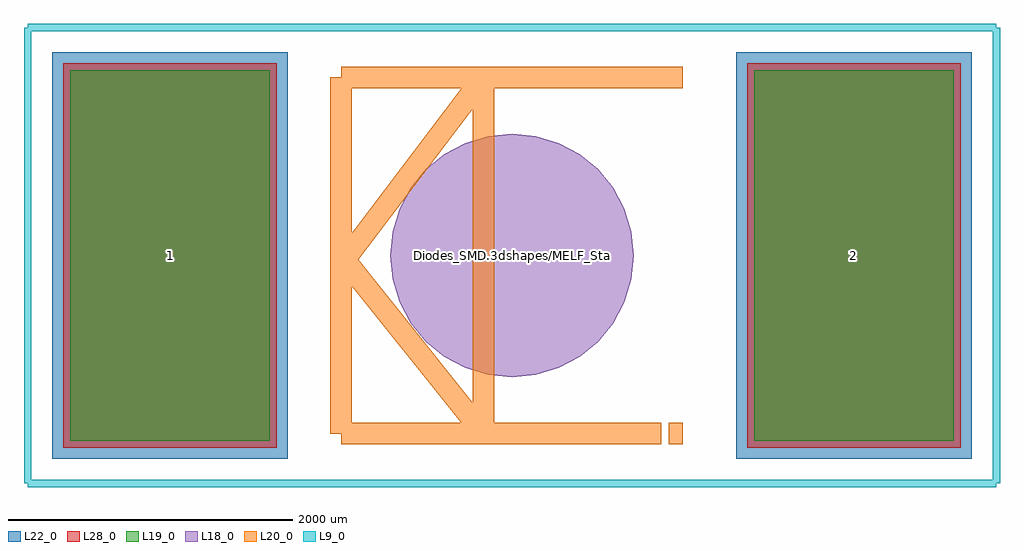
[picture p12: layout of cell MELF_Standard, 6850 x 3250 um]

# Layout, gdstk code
import gdstk
lib = gdstk.Library(unit=1e-6, precision=1e-09)
def R(c, l, rs):  # rectangles x0, y0, x1, y1
    for r in rs: c.add(gdstk.rectangle(r[:2], r[2:], *l))
def P(c, l, *ps):  # polygons
    for p in ps: c.add(gdstk.Polygon(p, *l))
L9_0 = (9, 0)
L18_0 = (18, 0)
L19_0 = (19, 0)
L20_0 = (20, 0)
L22_0 = (22, 0)
L28_0 = (28, 0)

melf_standard = lib.new_cell('MELF_Standard')
P(melf_standard, L18_0, [(200.66,0),(196.804,39.147),(185.386,76.789),(166.843,111.481),(141.888,141.888),(111.481,166.843),(76.789,185.386),(39.147,196.804),(0,200.66),(-39.147,196.804),(-76.789,185.386),(-111.481,166.843),(-141.888,141.888),(-166.843,111.481),(-185.386,76.789),(-196.804,39.147),(-200.66,0),(-196.804,-39.147),(-185.386,-76.789),(-166.843,-111.481),(-141.888,-141.888),(-111.481,-166.843),(-76.789,-185.386),(-39.147,-196.804),(0,-200.66),(39.147,-196.804),(76.789,-185.386),(111.481,-166.843),(141.888,-141.888),(166.843,-111.481),(185.386,-76.789),(196.804,-39.147)],
  [(551.18,0),(540.589,107.53),(509.224,210.927),(458.289,306.219),(389.743,389.743),(306.219,458.289),(210.927,509.224),(107.53,540.589),(0,551.18),(-107.53,540.589),(-210.927,509.224),(-306.219,458.289),(-389.743,389.743),(-458.289,306.219),(-509.224,210.927),(-540.589,107.53),(-551.18,0),(-540.589,-107.53),(-509.224,-210.927),(-458.289,-306.219),(-389.743,-389.743),(-306.219,-458.289),(-210.927,-509.224),(-107.53,-540.589),(0,-551.18),(107.53,-540.589),(210.927,-509.224),(306.219,-458.289),(389.743,-389.743),(458.289,-306.219),(509.224,-210.927),(540.589,-107.53)],
  [(854.395,0),(837.978,166.684),(789.358,326.963),(710.403,474.676),(604.148,604.148),(474.676,710.403),(326.963,789.358),(166.684,837.978),(0,854.395),(-166.684,837.978),(-326.963,789.358),(-474.676,710.403),(-604.148,604.148),(-710.403,474.676),(-789.358,326.963),(-837.978,166.684),(-854.395,0),(-837.978,-166.684),(-789.358,-326.963),(-710.403,-474.676),(-604.148,-604.148),(-474.676,-710.403),(-326.963,-789.358),(-166.684,-837.978),(0,-854.395),(166.684,-837.978),(326.963,-789.358),(474.676,-710.403),(604.148,-604.148),(710.403,-474.676),(789.358,-326.963),(837.978,-166.684)])
R(melf_standard, L19_0, [(-3100.87,-1300.01,-1699.73,1300.01), (1699.73,-1300.01,3100.87,1300.01)])
R(melf_standard, L22_0, [(-3225.87,-1425.01,-1574.73,1425.01), (1574.73,-1425.01,3225.87,1425.01)])
R(melf_standard, L28_0, [(-3150.87,-1350.01,-1649.73,1350.01), (1649.73,-1350.01,3150.87,1350.01)])
melf_standard.add(gdstk.FlexPath([(-1198.88,-1249.68),(1049.02,-1249.68)], 149.998, ends="flush", simple_path=True, layer=20, datatype=0))  # L20_0
melf_standard.add(gdstk.FlexPath([(-1198.88,1249.68),(1150.62,1249.68)], 149.998, ends="flush", simple_path=True, layer=20, datatype=0))  # L20_0
melf_standard.add(gdstk.FlexPath([(1099.82,-1249.68),(1198.88,-1249.68)], 149.998, ends="flush", simple_path=True, layer=20, datatype=0))  # L20_0
melf_standard.add(gdstk.FlexPath([(1099.82,1249.68),(1198.88,1249.68)], 149.998, ends="flush", simple_path=True, layer=20, datatype=0))  # L20_0
melf_standard.add(gdstk.FlexPath([(-1198.88,1249.68),(-1198.88,-1249.68)], 149.998, ends="flush", simple_path=True, layer=20, datatype=0))  # L20_0
melf_standard.add(gdstk.FlexPath([(-200.66,-1249.68),(-1198.88,0)], 149.998, ends="flush", simple_path=True, layer=20, datatype=0))  # L20_0
melf_standard.add(gdstk.FlexPath([(-200.66,1249.68),(-200.66,-1249.68)], 149.998, ends="flush", simple_path=True, layer=20, datatype=0))  # L20_0
melf_standard.add(gdstk.FlexPath([(-1150.62,0),(-200.66,1249.68)], 149.998, ends="flush", simple_path=True, layer=20, datatype=0))  # L20_0
melf_standard.add(gdstk.FlexPath([(-3400,-1600),(-3400,1600)], 50, ends="flush", simple_path=True, layer=9, datatype=0))  # L9_0
melf_standard.add(gdstk.FlexPath([(3400,-1600),(-3400,-1600)], 50, ends="flush", simple_path=True, layer=9, datatype=0))  # L9_0
melf_standard.add(gdstk.FlexPath([(3400,1600),(3400,-1600)], 50, ends="flush", simple_path=True, layer=9, datatype=0))  # L9_0
melf_standard.add(gdstk.FlexPath([(-3400,1600),(3400,1600)], 50, ends="flush", simple_path=True, layer=9, datatype=0))  # L9_0
melf_standard.add(gdstk.Label('Diodes_SMD.3dshapes/MELF_Standard.wrl', (0,0), layer=12, texttype=0))
melf_standard.add(gdstk.Label('2', (2400.3,0), layer=28, texttype=0))
melf_standard.add(gdstk.Label('1', (-2400.3,0), layer=28, texttype=0))
melf_standard.add(gdstk.Label('A', (2350,-2350), layer=9, texttype=0))
melf_standard.add(gdstk.Label('K', (-2550,-2400), layer=9, texttype=0))
melf_standard.add(gdstk.Label('type', (0,-3810), layer=9, texttype=0))
melf_standard.add(gdstk.Label('devicename', (0,2540), layer=9, texttype=0))

lib.write_gds('MELF_Standard.gds')
